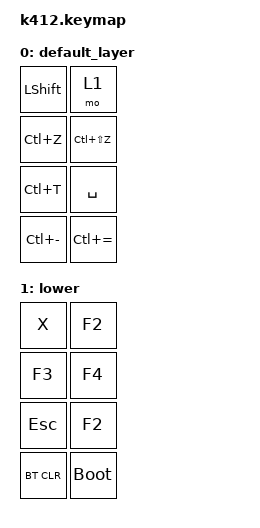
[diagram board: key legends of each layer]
// This file was generated from a template. Edit it to match your keyboard.
// See https://zmk.dev/docs/development/hardware-integration/new-shield for more instructions.

#include <behaviors.dtsi>
#include <dt-bindings/zmk/keys.h>
#include <dt-bindings/zmk/bt.h>
/ {
    // Define a default keymap here.
    // See https://zmk.dev/docs/development/hardware-integration/new-shield#default-keymap.
    keymap {
        compatible = "zmk,keymap";

        default_layer {
            bindings = <
             	&kp LSHFT  &mo 1 
             	&kp LC(Z)  &kp LC(LS(Z)) 
              	&kp LC(T)  &kp SPACE
              	&kp LC(MINUS)  &kp LC(EQUAL)
            >;
        };
 lower {
            // ----------------------------------------------------------------------------------------------------------
            // |  ESC  |  F2  |  F3  |  F4  |  F5  |  F6  |-------|-------|   F7  |  F8   |  F9  | F10  |  F11  |  F12  |
            // |   ~   |  !   |  @   |  #   |  $   |  %   |-------|-------|   ^   |   &   |  *   |  (   |   )   |  DEL  |
            // |       |  F1  |  F2  |  F3  |  F4  |  F5  |-------|-------|   F6  |   _   |  +   |  {   |   }   |   |   |
            // |       |  F7  |  F8  |  F9  |  F10 |  F11 |-------|-------|   F12 | LS(#) |LS(|) |      |       |       |
            // |-------|      |      |      |      |      |       |       |       | NEXT  | Vol- | Vol+ | PLAY  |-------|
            bindings = <
               &kp X  &kp F2   
               &kp F3   &kp F4
               &kp ESC   &kp F2   
               &bt BT_CLR  &bootloader
            //  &kp ESC   &kp F2   &kp F3   &kp F4   &kp F5    &kp F6                  &kp F7    &kp F8              &kp F9              &kp F10      &kp F11          &kp F12
            //  &kp TILDE &kp EXCL &kp AT   &kp HASH &kp DLLR  &kp PRCNT               &kp CARET &kp AMPS            &kp ASTRK           &kp LPAR     &kp RPAR         &kp DEL
            //  &trans    &kp F1   &kp F2   &kp F3   &kp F4    &kp F5                  &kp F6    &kp UNDER           &kp PLUS            &kp LBRC     &kp RBRC         &kp PIPE
            //  &trans    &kp F7   &kp F8   &kp F9   &kp F10   &kp F11                 &kp F12   &kp LS(NON_US_HASH) &kp LS(NON_US_BSLH) &trans    &trans        &trans
            //  &trans   &trans   &trans   &trans    &trans    &trans &trans &mo 3     &kp C_NEXT          &kp C_VOL_DN        &kp C_VOL_UP &kp C_PLAY_PAUSE
            >;
        };
    };
};
